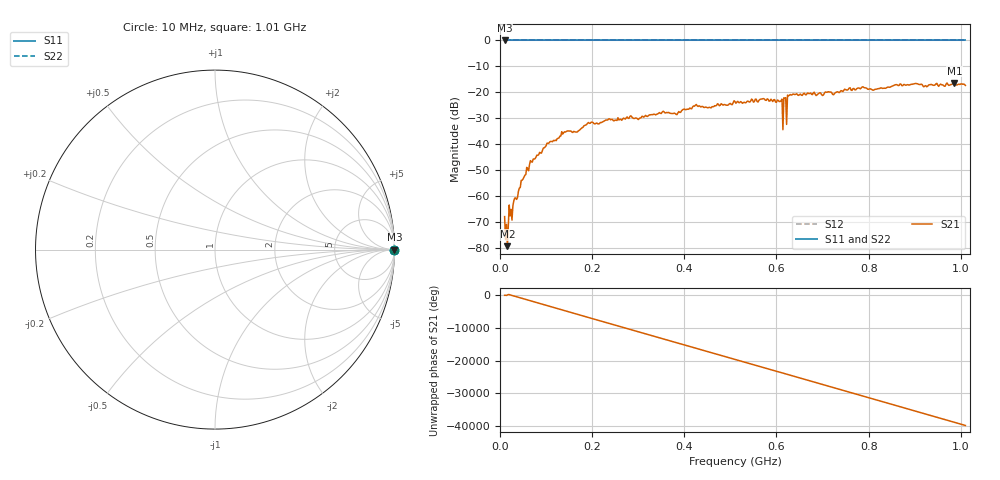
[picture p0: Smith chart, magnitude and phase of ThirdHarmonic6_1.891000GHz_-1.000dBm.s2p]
! 8/16/2025 10:50:14 PM
! C:\ANRITSUVNA\TEMP\TEMP.S2P
! CHANNEL.1
! TR.MEASUREMENT
! RAW.DATA
! RF.CORRECTION.OFF
! AVERAGING.OFF
! IF.BANDWIDTH: 5KHZ
! SWEEPTYPE:  FREQ.SWEEP(Linear)
! Reference Plane Port Info
! PORT:  PORT1  PORT2
! DISTANCE:  0  m  0  m
! TIME:  0  s  0  s
! PHASE.OFFSET:  0  deg.  0  deg.
! LOSS:  0  dB  0  dB
! REF.LOSS:  0  dB  0  dB
! REF.FREQ:  0  Hz  0  Hz
! Power Info
! POWER:  -20  dBm  -20  dBm
! EFF.POWER:  -20  dBm  -20  dBm
! SOURCE.ATTEN:  0  dB  0  dB
! TEST.ATTEN:  0  dB  0  dB
# GHZ S RI R 50.0
! FREQ.GHZ  S11RE  S11IM  S21RE  S21IM  S12RE  S12IM  S22RE  S22IM
!; PortSelection: Port_12
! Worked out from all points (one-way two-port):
!   501 points, 10 MHz to 1.01 GHz, reference 50 ohm
!   highest |S21| = -16.34 dB at 986 MHz (marker M1); lowest = -79.2 dB at 16 MHz (marker M2)
!   lowest |S11| = 0.0 dB at 10 MHz (marker M3)
!   |S11| at or under -10 dB: nowhere
!   |S22| runs from 0.0 to 0.0 dB; largest |S21 - S12| = 1.1
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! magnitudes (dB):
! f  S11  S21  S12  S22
! 10 MHz  0.0  -67.8  0.0  0.0
! 14 MHz  0.0  -70.8  0.0  0.0
! 16 MHz  0.0  -79.2  0.0  0.0
! 32 MHz  0.0  -60.7  0.0  0.0
! 68 MHz  0.0  -46.7  0.0  0.0
! 106 MHz  0.0  -39.6  0.0  0.0
! 138 MHz  0.0  -35.5  0.0  0.0
! 178 MHz  0.0  -33.6  0.0  0.0
! 196 MHz  0.0  -31.8  0.0  0.0
! 344 MHz  0.0  -28.1  0.0  0.0
! 510 MHz  0.0  -23.6  0.0  0.0
! 608 MHz  0.0  -23.5  0.0  0.0
! 610 MHz  0.0  -23.2  0.0  0.0
! 616 MHz  0.0  -22.1  0.0  0.0
! 618 MHz  0.0  -22.3  0.0  0.0
! 620 MHz  0.0  -22.0  0.0  0.0
! 626 MHz  0.0  -21.3  0.0  0.0
! 628 MHz  0.0  -21.1  0.0  0.0
! 678 MHz  0.0  -20.9  0.0  0.0
! 844 MHz  0.0  -18.0  0.0  0.0
! 986 MHz  0.0  -16.3  0.0  0.0
! 1.01 GHz  0.0  -17.3  0.0  0.0
